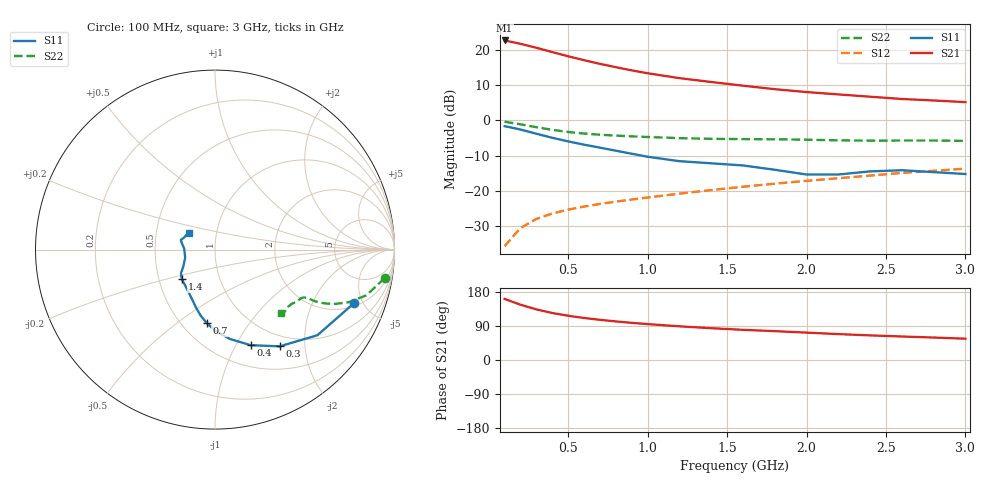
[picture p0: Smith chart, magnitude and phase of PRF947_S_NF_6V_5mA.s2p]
! Filename:  PRF947m.S2P  Version:  3.0
! Philips part #:  PRF947  Date:  Dec 1998
! Bias condition:  Vce=6V, Ic=5mA
#  MHz  S  MA  R 50
! Freq  S11  S21  S12  S22  :
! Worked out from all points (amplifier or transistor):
!   20 points, 100 MHz to 3 GHz, reference 50 ohm
!   highest |S21| = 22.6 dB at 100 MHz (marker M1)
!   |S21| within 3 dB of that: start of sweep to 376.3 MHz
!   unconditionally stable (mu >= 1): 1.549 GHz to end of sweep
!   at 400 MHz: K = 0.49, MSG = 22.8 dB, |S12| = -26.3 dB
!   at 1.2 GHz: K = 0.96, MSG = 16.3 dB, |S12| = -20.7 dB
!   at 3 GHz: K = 1.05, MAG = 8.0 dB, |S12| = -13.6 dB
!   lowest NFmin = 1.19 dB at 500 MHz
!   S11 on the Smith chart (normalised r, x): 100 MHz: 2.22, -4.26; 300 MHz: 0.83, -1.54; 400 MHz: 0.73, -1.15; 700 MHz: 0.66, -0.65; 1.4 GHz: 0.66, -0.23; 3 GHz: 0.73, +0.14
100  0.8297 -21.1  13.53 161.2  0.01664 78.6  0.9579 -9.6
200  0.7437 -39.9  12.12 145.8  0.0301 70.5  0.8811 -16.8
300  0.6485 -56.2  10.67 133.5  0.0404 65.4  0.8013 -21.4
400  0.5683 -69.6  9.262 124.0  0.04825 62.7  0.736 -24.3
500  0.5048 -80.5  8.078 116.8  0.05473 61.7  0.6872 -25.9
600  0.4544 -89.4  7.118 110.9  0.06048 61.8  0.6525 -26.8
700  0.412 -96.5  6.315 106.0  0.06586 62.3  0.6281 -27.3
800  0.3733 -102.7  5.664 101.8  0.07099 63.0  0.6101 -27.5
900  0.3378 -108.5  5.107 98.0  0.07606 64.0  0.5951 -27.6
1000  0.3064 -114.4  4.65 94.8  0.08118 65.1  0.5829 -27.7
1200  0.2652 -127.2  3.965 88.9  0.09209 66.7  0.5617 -28.3
1400  0.2475 -138.4  3.498 83.9  0.1035 68.2  0.549 -29.7
1600  0.2308 -145.2  3.101 79.6  0.1153 69.7  0.5446 -31.3
1800  0.2006 -151.8  2.768 76.2  0.1275 70.9  0.5412 -32.4
2000  0.1719 -165.0  2.52 72.2  0.1396 71.9  0.5336 -33.5
2200  0.1719 178.0  2.334 68.4  0.1522 72.5  0.5229 -35.3
2400  0.1902 168.2  2.165 64.9  0.166 73.0  0.5176 -38.0
2600  0.1976 164.2  2.011 62.0  0.1809 73.5  0.5196 -40.4
2800  0.1856 159.2  1.916 59.3  0.1938 74.0  0.5196 -42.1
3000  0.1746 147.2  1.816 56.2  0.2079 74.3  0.5132 -43.8
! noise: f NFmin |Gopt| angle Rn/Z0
500  1.19  0.45  16  0.34
800  1.43  0.46  25  0.39
900  1.48  0.45  26  0.41
1000  1.56  0.46  27  0.3
1500  1.62  0.41  62  0.31
2000  2  0.2  109  0.28
